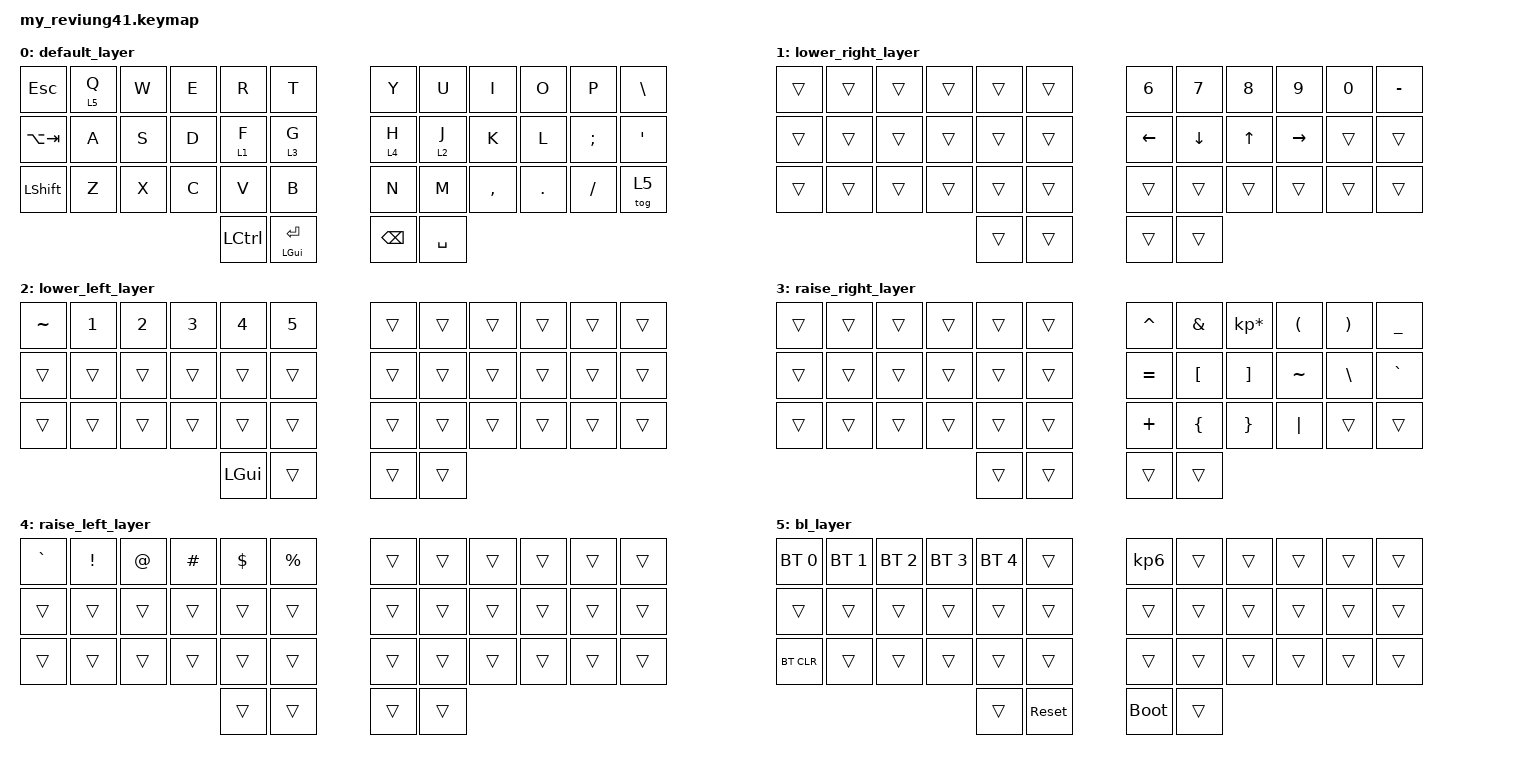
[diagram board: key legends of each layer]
/*
 * Copyright (c) 2020 The ZMK Contributors
 *
 * SPDX-License-Identifier: MIT
 */

#include <behaviors.dtsi>
#include <dt-bindings/zmk/bt.h>
#include <dt-bindings/zmk/keys.h>

&lt {
    flavor = "balanced";
};

/ {
    behaviors {
        hm: homerow_mods {
            compatible = "zmk,behavior-hold-tap";
            label = "HOMEROW_MODS";
            #binding-cells = <2>;
            tapping-term-ms = <150>;
            quick-tap-ms = <0>;
            flavor = "tap-preferred";
            bindings = <&kp>, <&kp>;
        };

        mx: layer_tap_osl {
            compatible = "zmk,behavior-hold-tap";
            label = "LAYER_TAP_OSL";
            #binding-cells = <2>;
            flavor = "hold-preferred";
            tapping_term_ms = <200>;
            bindings = <&mo>, <&kp>;
        };

        li: layer_tap_intr {
            compatible = "zmk,behavior-hold-tap";
            label = "LAYER_TAP_INTR";
            #binding-cells = <2>;
            flavor = "tap-unless-interrupted";
            tapping_term_ms = <200>;
            bindings = <&mo>, <&kp>;
        };
    };

    combos {
        compatible = "zmk,combos";

        combo_alt_tab {
            timeout-ms = <100>;
            key-positions = <0 1>;
            bindings = <&tog 5>;
        };
    };

    keymap {
        compatible = "zmk,keymap";

        default_layer {
            // -----------------------------------------------------------------------------------------
            // |  ESC |  Q  |  W  |  E  |  R  |  T  |   |  Y  |  U   |  I  |  O  |  P  | BKSP |
            // | CTRL |  A  |  S  |  D  |  F  |  G  |   |  H  |  J   |  K  |  L  |  ;  |  '   |
            // | SHFT |  Z  |  X  |  C  |  V  |  B  |   |  N  |  M   |  ,  |  .  |  /  | ESC  |
            //                    | CTRL| ENT | LWR |   | BKSP| SPACE| ALT |

            bindings = <
&kp ESC      &lt 5 Q  &kp W  &kp E      &kp R    &kp T     &kp Y      &kp U    &kp I      &kp O    &kp P     &kp BSLH
&kp LA(TAB)  &kp A    &kp S  &kp D      &lt 1 F  &lt 3 G   &lt 4 H    &lt 2 J  &kp K      &kp L    &kp SEMI  &kp SQT
&kp LSHFT    &kp Z    &kp X  &kp C      &kp V    &kp B     &kp N      &kp M    &kp COMMA  &kp DOT  &kp FSLH  &tog 5
                             &kp LCTRL  &mt LGUI RET  &kp BSPC  &kp SPACE
            >;
        };

        lower_right_layer {
            // -----------------------------------------------------------------------------------------
            // |    |     |  2  |  3  |  4  |  5  |   |  6  |  7  |  8  |  9  |  0  | BKSP |
            // | 	|     | BT2 | BT3 | BT4 | BT5 |   | LFT | DWN |  UP | RGT |     |      |
            // |    |     |     |     |     |     |   |     |     |     |     |     |      |
            //                    | GUI |     | SPC |   | ENT |     | ALT |

            bindings = <
&trans  &trans  &trans  &trans  &trans  &trans  &kp N6    &kp N7    &kp N8  &kp N9     &kp N0  &kp MINUS
&trans  &trans  &trans  &trans  &trans  &trans  &kp LEFT  &kp DOWN  &kp UP  &kp RIGHT  &trans  &trans
&trans  &trans  &trans  &trans  &trans  &trans  &trans    &trans    &trans  &trans     &trans  &trans
                        &trans  &trans  &trans  &trans
            >;
        };

        lower_left_layer {
            // -----------------------------------------------------------------------------------------
            // |  TAB |  1  |  2  |  3  |  4  |  5  |   |  6  |  7  |  8  |  9  |  0  | BKSP |
            // | BTCLR| BT1 | BT2 | BT3 | BT4 | BT5 |   | LFT | DWN |  UP | RGT |     |      |
            // | SHFT |     |     |     |     |     |   |     |     |     |     |     |      |
            //                    | GUI |     | SPC |   | ENT |     | ALT |

            bindings = <
&kp TILDE  &kp N1  &kp N2  &kp N3  &kp N4  &kp N5  &trans  &trans  &trans  &trans  &trans  &trans
&trans     &trans  &trans  &trans  &trans  &trans  &trans  &trans  &trans  &trans  &trans  &trans
&trans     &trans  &trans  &trans  &trans  &trans  &trans  &trans  &trans  &trans  &trans  &trans
                           &kp LGUI  &trans  &trans  &trans
            >;
        };

        raise_right_layer {
            // -----------------------------------------------------------------------------------------
            // |  TAB |  !  |  @  |  #  |  $  |  %  |   |  ^  |  &  |  *  |  (  |  )  | BKSP |
            // | CTRL |     |     |     |     |     |   |  -  |  =  |  [  |  ]  |  \  |  `   |
            // | SHFT |     |     |     |     |     |   |  _  |  +  |  {  |  }  | "|" |  ~   |
            //                    | GUI |     | SPC |   | ENT |     | ALT |

            bindings = <
&trans  &trans  &trans  &trans  &trans  &trans  &kp CARET  &kp AMPS  &kp KP_MULTIPLY  &kp LPAR   &kp RPAR  &kp UNDER
&trans  &trans  &trans  &trans  &trans  &trans  &kp EQUAL  &kp LBKT  &kp RBKT         &kp TILDE  &kp BSLH  &kp GRAVE
&trans  &trans  &trans  &trans  &trans  &trans  &kp PLUS   &kp LBRC  &kp RBRC         &kp PIPE   &trans    &trans
                        &trans  &trans  &trans  &trans
            >;
        };

        raise_left_layer {
            // -----------------------------------------------------------------------------------------
            // |  TAB |  !  |  @  |  #  |  $  |  %  |   |  ^  |  &  |  *  |  (  |  )  | BKSP |
            // | CTRL |     |     |     |     |     |   |  -  |  =  |  [  |  ]  |  \  |  `   |
            // | SHFT |     |     |     |     |     |   |  _  |  +  |  {  |  }  | "|" |  ~   |
            //                    | GUI |     | SPC |   | ENT |     | ALT |

            bindings = <
&kp GRAVE  &kp EXCL  &kp AT  &kp HASH  &kp DLLR  &kp PRCNT  &trans  &trans  &trans  &trans  &trans  &trans
&trans     &trans    &trans  &trans    &trans    &trans     &trans  &trans  &trans  &trans  &trans  &trans
&trans     &trans    &trans  &trans    &trans    &trans     &trans  &trans  &trans  &trans  &trans  &trans
                             &trans    &trans    &trans     &trans
            >;
        };

        bl_layer {
            // -----------------------------------------------------------------------------------------
            // |  TAB |  !  |  @  |  #  |  $  |  %  |   |  ^  |  &  |  *  |  (  |  )  | BKSP |
            // | CTRL |     |     |     |     |     |   |  -  |  =  |  [  |  ]  |  \  |  `   |
            // | SHFT |     |     |     |     |     |   |  _  |  +  |  {  |  }  | "|" |  ~   |
            //                    | GUI |     | SPC |   | ENT |     | ALT |

            bindings = <
&bt BT_SEL 0  &bt BT_SEL 1  &bt BT_SEL 2  &bt BT_SEL 3  &bt BT_SEL 4  &trans       &kp KP_NUMBER_6  &trans  &trans  &trans  &trans  &trans
&trans        &trans        &trans        &trans        &trans        &trans       &trans           &trans  &trans  &trans  &trans  &trans
&bt BT_CLR    &trans        &trans        &trans        &trans        &trans       &trans           &trans  &trans  &trans  &trans  &trans
                                          &trans        &sys_reset    &bootloader  &trans
            >;
        };
    };
};
